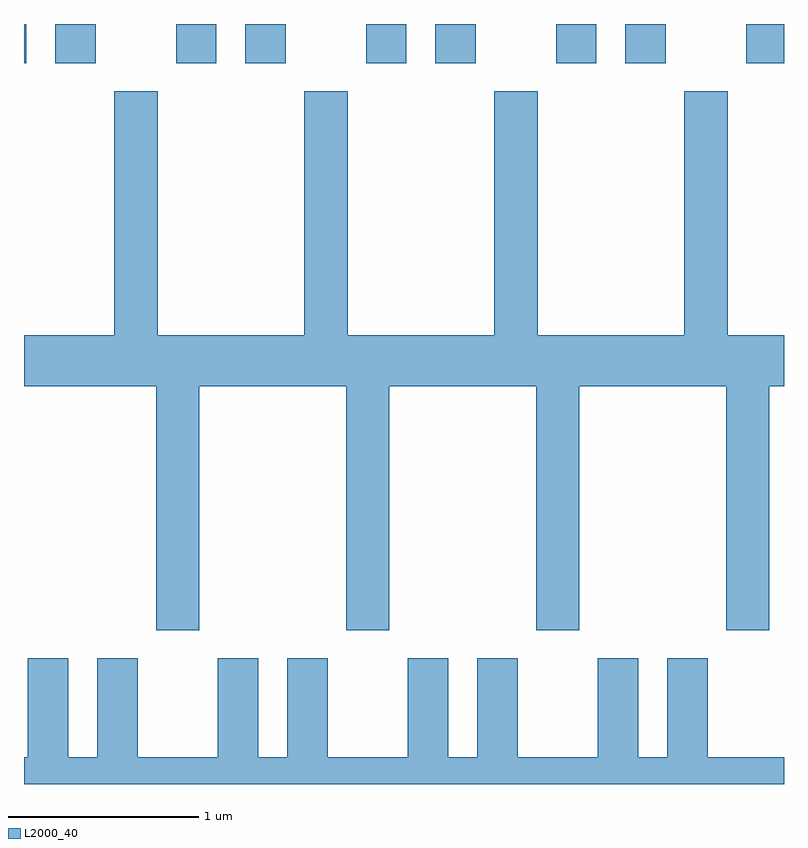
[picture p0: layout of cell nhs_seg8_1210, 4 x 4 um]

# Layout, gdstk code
import gdstk
lib = gdstk.Library(unit=1e-6, precision=1e-09)
def R(c, l, rs):  # rectangles x0, y0, x1, y1
    for r in rs: c.add(gdstk.rectangle(r[:2], r[2:], *l))
def P(c, l, *ps):  # polygons
    for p in ps: c.add(gdstk.Polygon(p, *l))
L2000_40 = (2000, 40)

nhs_seg8_1210 = lib.new_cell('nhs_seg8_1210')
R(nhs_seg8_1210, L2000_40, [(221.611,1818.136,221.624,1818.342), (221.776,1818.136,221.989,1818.342), (222.411,1818.136,222.624,1818.342), (222.776,1818.136,222.989,1818.342), (223.411,1818.136,223.624,1818.342), (223.776,1818.136,223.989,1818.342), (224.411,1818.136,224.624,1818.342), (224.776,1818.136,224.989,1818.342), (225.411,1818.136,225.611,1818.342)])
P(nhs_seg8_1210, L2000_40, [(222.534,1816.436),(223.306,1816.436),(223.306,1815.151),(223.534,1815.151),(223.534,1816.436),(224.306,1816.436),(224.306,1815.151),(224.534,1815.151),(224.534,1816.436),(225.306,1816.436),(225.306,1815.151),(225.534,1815.151),(225.534,1816.436),(225.611,1816.436),(225.611,1816.704),(225.314,1816.704),(225.314,1817.989),(225.086,1817.989),(225.086,1816.704),(224.314,1816.704),(224.314,1817.989),(224.086,1817.989),(224.086,1816.704),(223.314,1816.704),(223.314,1817.989),(223.086,1817.989),(223.086,1816.704),(222.314,1816.704),(222.314,1817.989),(222.086,1817.989),(222.086,1816.704),(221.611,1816.704),(221.611,1816.436),(222.306,1816.436),(222.306,1815.151),(222.534,1815.151)],
  [(225.611,1814.484),(225.209,1814.484),(225.209,1815.004),(224.996,1815.004),(224.996,1814.484),(224.844,1814.484),(224.844,1815.004),(224.631,1815.004),(224.631,1814.484),(224.209,1814.484),(224.209,1815.004),(223.996,1815.004),(223.996,1814.484),(223.844,1814.484),(223.844,1815.004),(223.631,1815.004),(223.631,1814.484),(223.209,1814.484),(223.209,1815.004),(222.996,1815.004),(222.996,1814.484),(222.844,1814.484),(222.844,1815.004),(222.631,1815.004),(222.631,1814.484),(222.209,1814.484),(222.209,1815.004),(221.996,1815.004),(221.996,1814.484),(221.844,1814.484),(221.844,1815.004),(221.631,1815.004),(221.631,1814.484),(221.611,1814.484),(221.611,1814.342),(225.611,1814.342)])

lib.write_gds('nhs_seg8_1210.gds')
